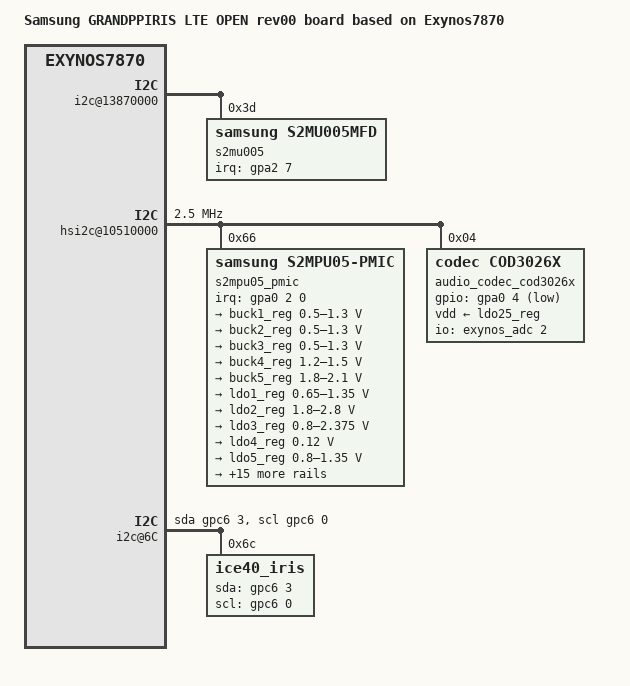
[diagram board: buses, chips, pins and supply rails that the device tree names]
/*
 * SAMSUNG UNIVERSAL8890 board device tree source
 *
 * Copyright (c) 2013 Samsung Electronics Co., Ltd.
 *		http://www.samsung.com
 *
 * This program is free software; you can redistribute it and/or modify
 * it under the terms of the GNU General Public License version 2 as
 * published by the Free Software Foundation.
*/

/dts-v1/;
#include "exynos7870-grandppirislte_common.dtsi"
#include "modem-ss315ap-pdata.dtsi"
#include "exynos7870-grandppirislte_swa_open_gpio_00.dtsi"
#include "exynos7870-grandppirislte_swa_open_battery_00.dtsi"

/ {
	model = "Samsung GRANDPPIRIS LTE OPEN rev00 board based on Exynos7870";
        model_info-chip = <7870>;
        model_info-platform = "android";
        model_info-subtype = "samsung";
        model_info-hw_rev = <0>;
        model_info-hw_rev_end = <255>;
	compatible = "samsung, GRANDPPIRIS LTE SWA OPEN 00", "samsung,exynos7870";

	i2c@13870000 {
		status = "okay";
		samsung,i2c-sda-delay = <100>;
		samsung,i2c-max-bus-freq = <400000>;

		s2mu005@3d {
			compatible = "samsung,s2mu005mfd";
			reg = <0x3d>;
			pinctrl-names = "default";
			pinctrl-0 = <&if_pmic_irq>;
			s2mu005,irq-gpio = <&gpa2 7 0>;
			s2mu005,wakeup;

			leds {
				flash-gpio = <&gpd3 2 0>;
				torch-gpio = <&gpd3 3 0>;

				flash_current = <1200>;
				preflash_current = <150>;
				movie_current = <175>; /*unused*/
				torch_current = <75>;
				factory_current = <300>;
				front_torch_current = <100>;

				status = "okay";
				s2mu005-leds1 {
					ledname = "leds-sec1";
					id = <0>;
					timeout = <15>; /* use gpio */
				};

				s2mu005-leds2 {
					ledname = "leds-sec2";
					id = <1>;
					timeout = <15>; /* use gpio */
				};
			};

			leds-rgb {
				led_current_tuning_count = <3>; 	/* Number of Supported Panel Tuning */
				led_current_tuning = <
					0x0D6020  	/* LCD ID: Gold Color */
					0x28 0x07 0x20   /* B G R LED MAX current for Normal Mode */
					0x28 0x07 0x20   /* B G R LED MAX current for Low power mode */
					0x0D6120  	/* White Color */
					0x27 0x07 0x1E
					0x27 0x07 0x1E
					0x0D6220  	/* Black Color */
					0x5C 0x0D 0x28
					0x5C 0x0D 0x28
					>;
			};
		};
	};

	but_zones: but_zones {
		#list-but-cells = <3>;
	};

	s1402x: s1402x@14880000 {
		pinctrl-names = "default", "idle", "bt", "bt-idle";
		pinctrl-0 = <&i2s_pmic_amp_bus
			&i2s_bt_bus>;
		pinctrl-1 = <&i2s_pmic_amp_bus_idle
			&i2s_bt_bus_idle> ;
		pinctrl-2 = <&i2s_pmic_bus
			&i2s_amp_bus>;
		pinctrl-3 = <&i2s_bt_bus_idle>;

		bt-fm-combo;
		/delete-property/ bck-mcko-mode;
		status = "okay";
	};

	hsi2c@10510000 {
		status = "okay";
		samsung,hs-mode;
		clock-frequency = <2500000>;
		samsung,hsi2c-batcher;
		#address-cells = <1>;
		#size-cells = <0>;

		s2mpu05_pmic@66 {
			compatible = "samsung,s2mpu05-pmic";
			reg = <0x66>;
			ten-bit-address;
			interrupts = <2 0 0>;
			interrupt-parent = <&gpa0>;
			pinctrl-names = "default";
			pinctrl-0 = <&pmic_irq &pm_wrsti>;
			g3d_en = <1>; /* 1 : enable , 0 : disable */
			buck2en_pin = "etc1-3";
			buck2en_addr = "139B0080.pinctrl";
			/* RTC: wtsr/smpl */
			wtsr_en = <1>; /* enable */
			smpl_en = <1>; /* enable */
			wtsr_timer_val = <3>;   /* 1000ms */
			smpl_timer_val = <0>;   /* 100ms */
			check_jigon = <0>; /* do not check jigon */
			/* RTC: If it's first boot, reset rtc to 1/1/2016 12:00:00(Fri) */
			init_time,sec = <0>;
			init_time,min = <0>;
			init_time,hour = <12>;
			init_time,mday = <1>;
			init_time,mon = <0>;
			init_time,year = <116>;
			init_time,wday = <5>;

			regulators {
				buck1_reg: BUCK1 {
					regulator-name = "BUCK1";
					regulator-min-microvolt = <500000>;
					regulator-max-microvolt = <1300000>;
					regulator-always-on;
					regulator-boot-on;
					regulator-ramp-delay = <12000>;
					regulator-initial-mode = <1>;
					regulator-expected-consumer = <2>;
				};

				buck2_reg: BUCK2 {
					regulator-name = "BUCK2";
					regulator-min-microvolt = <500000>;
					regulator-max-microvolt = <1300000>;
					regulator-always-on;
					regulator-boot-on;
					regulator-ramp-delay = <12000>;
					regulator-initial-mode = <2>;		/* MIF mode */
					regulator-expected-consumer = <4>;
				};

				buck3_reg: BUCK3 {
					regulator-name = "BUCK3";
					regulator-min-microvolt = <500000>;
					regulator-max-microvolt = <1300000>;
					regulator-always-on;
					regulator-boot-on;
					regulator-ramp-delay = <12000>;
					regulator-initial-mode = <2>;
				};

				buck4_reg: BUCK4 {
					regulator-name = "BUCK4";
					regulator-min-microvolt = <1200000>;
					regulator-max-microvolt = <1500000>;
					regulator-always-on;
					regulator-boot-on;
					regulator-ramp-delay = <12000>;
					regulator-initial-mode = <2>;
				};

				buck5_reg: BUCK5 {
					regulator-name = "BUCK5";
					regulator-min-microvolt = <1800000>;
					regulator-max-microvolt = <2100000>;
					regulator-always-on;
					regulator-boot-on;
					regulator-ramp-delay = <12000>;
					regulator-initial-mode = <2>;
				};

				ldo1_reg: LDO1 {
					regulator-name = "vdd_ldo1";
					regulator-min-microvolt = <650000>;
					regulator-max-microvolt = <1350000>;
					regulator-always-on;
					regulator-boot-on;
					regulator-ramp-delay = <12000>;
					regulator-initial-mode = <3>;
				};

				ldo2_reg: LDO2 {
					regulator-name = "vqmmc";
					regulator-min-microvolt = <1800000>;
					regulator-max-microvolt = <2800000>;
					regulator-ramp-delay = <12000>;
					regulator-initial-mode = <0>;
				};

				ldo3_reg: LDO3 {
					regulator-name = "vdd_ldo3";
					regulator-min-microvolt = <800000>;
					regulator-max-microvolt = <2375000>;
					regulator-boot-on;
					regulator-always-on;
					regulator-ramp-delay = <12000>;
					regulator-initial-mode = <3>;
				};

				ldo4_reg: LDO4 {
					regulator-name = "vdd_ldo4";
					regulator-min-microvolt = <120000>;
					regulator-max-microvolt = <120000>;
					regulator-boot-on;
					regulator-always-on;
					regulator-ramp-delay = <12000>;
					regulator-initial-mode = <1>;
				};

				ldo5_reg: LDO5 {
					regulator-name = "vdd_ldo5";
					regulator-min-microvolt = <800000>;
					regulator-max-microvolt = <1350000>;
					regulator-boot-on;
					regulator-always-on;
					regulator-ramp-delay = <12000>;
					regulator-initial-mode = <3>;
				};

				ldo6_reg: LDO6 {
					regulator-name = "vdd_ldo6";
					regulator-min-microvolt = <800000>;
					regulator-max-microvolt = <1350000>;
					regulator-boot-on;
					regulator-always-on;
					regulator-ramp-delay = <12000>;
					regulator-initial-mode = <1>;
				};

				ldo7_reg: LDO7 {
					regulator-name = "vdd_ldo7";
					regulator-min-microvolt = <800000>;
					regulator-max-microvolt = <2375000>;
					regulator-boot-on;
					regulator-always-on;
					regulator-ramp-delay = <12000>;
					regulator-initial-mode = <1>;
				};

				ldo8_reg: LDO8 {
					regulator-name = "vdd_ldo8";
					regulator-min-microvolt = <1800000>;
					regulator-max-microvolt = <3375000>;
					regulator-boot-on;
					regulator-always-on;
					regulator-ramp-delay = <12000>;
					regulator-initial-mode = <1>;
				};

				ldo9_reg: LDO9 {
					regulator-name = "vdd_ldo9";
					regulator-min-microvolt = <650000>;
					regulator-max-microvolt = <1350000>;
					regulator-always-on;
					regulator-ramp-delay = <12000>;
					regulator-initial-mode = <1>;
				};

				ldo10_reg: LDO10 {
					regulator-name = "vdd_ldo10";
					regulator-min-microvolt = <650000>;
					regulator-max-microvolt = <1350000>;
					regulator-always-on;
					regulator-ramp-delay = <12000>;
					regulator-initial-mode = <1>;
				};

				ldo25_reg: LDO25 {
					regulator-name = "vdd_ldo25";
					regulator-min-microvolt = <800000>;
					regulator-max-microvolt = <2375000>;
					regulator-ramp-delay = <12000>;
					regulator-initial-mode = <1>;
				};

				ldo26_reg: LDO26 {
					regulator-name = "vemmc";
					regulator-min-microvolt = <1800000>;
					regulator-max-microvolt = <3375000>;
					regulator-boot-on;
					regulator-ramp-delay = <12000>;
					regulator-initial-mode = <3>;
				};

				ldo27_reg: LDO27 {
					regulator-name = "vqemmc";
					regulator-min-microvolt = <800000>;
					regulator-max-microvolt = <2375000>;
					regulator-boot-on;
					regulator-ramp-delay = <12000>;
					regulator-initial-mode = <3>;
				};

				ldo29_reg: LDO29 {
					regulator-name = "LCD_3P0";
					regulator-min-microvolt = <3000000>;
					regulator-max-microvolt = <3000000>;
					regulator-boot-on;
					regulator-initial-mode = <3>;
				};

				ldo30_reg: LDO30 {
					regulator-name = "LCD_1P8";
					regulator-min-microvolt = <1800000>;
					regulator-max-microvolt = <1800000>;
					regulator-boot-on;
					regulator-initial-mode = <3>;
				};

				ldo31_reg: LDO31 {
					regulator-name = "vdd_ldo31";
					regulator-min-microvolt = <2800000>;
					regulator-max-microvolt = <2800000>;
					regulator-boot-on;
					regulator-always-on;
					regulator-ramp-delay = <12000>;
					regulator-initial-mode = <3>;
				};

				ldo32_reg: LDO32 {
					regulator-name = "VDD_MOTOR_3.3";
					regulator-min-microvolt = <3300000>;
					regulator-max-microvolt = <3300000>;
					regulator-ramp-delay = <12000>;
				};

				ldo33_reg: LDO33 {
					regulator-name = "vdd_sensor_3p3";
					regulator-min-microvolt = <3300000>;
					regulator-max-microvolt = <3300000>;
					regulator-ramp-delay = <12000>;
					regulator-initial-mode = <3>;
				};

				ldo34_reg: LDO34 {
					regulator-name = "tsp_avdd";
					regulator-min-microvolt = <3300000>;
					regulator-max-microvolt = <3300000>;
				};

				ldo35_reg: LDO35 {
					regulator-name = "vtouch_2.8v";
					regulator-min-microvolt = <3300000>;
					regulator-max-microvolt = <3300000>;
					regulator-boot-on;
					regulator-initial-mode = <0>;
				};
			};
		};

		audio_codec_cod3026x: cod3026x@04 {
			compatible = "codec,cod3026x";
			reg = <0x04>;
			ten-bit-address;
			vdd-supply = <&ldo25_reg>;
			pinctrl-names = "default";
			pinctrl-0 = <&cod3026_irq>;
			interrupt-parent = <&gpa0>;
			gpios = <&gpa0 4 0xf>;
			mic-bias1-voltage = <1>;
			mic-bias2-voltage = <1>;
			mic-bias-ldo-voltage = <3>;
			use-det-adc-mode;
			io-channels = <&exynos_adc 2>;
			io-channel-names = "adc-jack";
			#io-channel-cells = <1>;
			io-channel-ranges;
			but-zones-list = <&but_zones 226 0 240>, /* send/end */
					<&but_zones 582 241 317>, /* google */
					<&but_zones 115 318 517>, /* vol up */
					<&but_zones 114 518 1107>; /* vol down */
			mic-adc-range = <1347>;
			mic-det-delay = <550>;
		};
	};

	pinctrl@139B0000 {
		ice40_iris_fw_ready: ice40_iris_fw_ready {
			samsung,pins = "gpc6-3", "gpc6-0", "gpd4-1", "gpf2-1", "gpc6-1";
			samsung,pin-function = <0>;
			samsung,pin-pud = <0>;
			samsung,pin-drv = <2>;
		};
	};

	i2c@6C {
		compatible = "i2c-gpio";
		gpios = <&gpc6 3 0 /* sda */
			&gpc6 0 0 /* scl */
			>;
		#i2c-gpio-scl = <&gpc6 0 0>;
		#i2c-gpio-sda = <&gpc6 3 0>;
		i2c-gpio,delay-us = <2>;
		#address-cells = <1>;
		#size-cells = <0>;
		status="okay";

		ice40_iris@6C {
			compatible = "ice40_iris";
			reg = <0x6C>;
			pinctrl-names = "ice40_iris_fw_ready";
			pinctrl-0 = <&ice40_iris_fw_ready>;
			ice40,fw_ver = <1>;
			ice40,sda-gpio = <&gpc6 3 0>;
			ice40,scl-gpio = <&gpc6 0 0>;
			ice40,cresetb = <&gpd4 1 0>;
			ice40,cdone = <&gpf2 1 0>;
			ice40,reset_n = <&gpc6 1 0>;
			ice40,fpga_clk=<&gpq0 0 0>;
		};
	};

};
